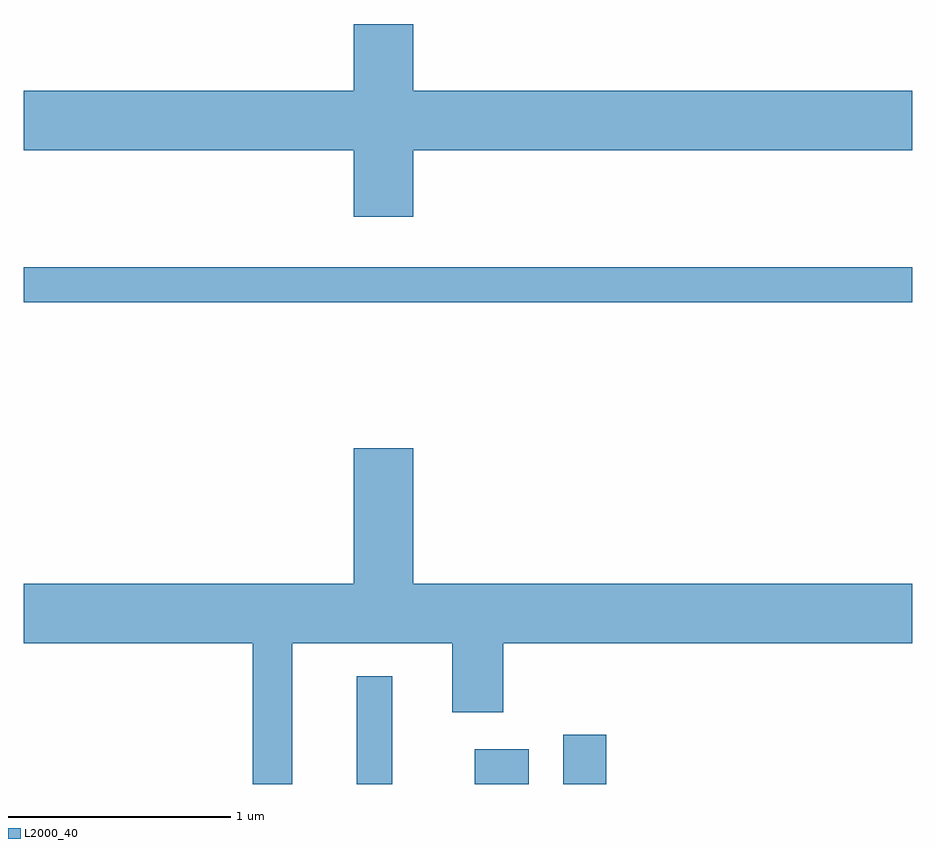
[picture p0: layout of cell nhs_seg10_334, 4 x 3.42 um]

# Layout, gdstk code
import gdstk
lib = gdstk.Library(unit=1e-6, precision=1e-09)
def R(c, l, rs):  # rectangles x0, y0, x1, y1
    for r in rs: c.add(gdstk.rectangle(r[:2], r[2:], *l))
def P(c, l, *ps):  # polygons
    for p in ps: c.add(gdstk.Polygon(p, *l))
L2000_40 = (2000, 40)

nhs_seg10_334 = lib.new_cell('nhs_seg10_334')
R(nhs_seg10_334, L2000_40, [(195.111,2206.522,195.269,2207.008), (195.641,2206.522,195.884,2206.679), (196.041,2206.522,196.234,2206.744), (193.611,2208.691,197.611,2208.849)])
P(nhs_seg10_334, L2000_40, [(195.364,2209.376),(197.611,2209.376),(197.611,2209.644),(195.364,2209.644),(195.364,2209.944),(195.096,2209.944),(195.096,2209.644),(193.611,2209.644),(193.611,2209.376),(195.096,2209.376),(195.096,2209.076),(195.364,2209.076)],
  [(194.819,2207.156),(195.541,2207.156),(195.541,2206.846),(195.769,2206.846),(195.769,2207.156),(197.611,2207.156),(197.611,2207.424),(195.364,2207.424),(195.364,2208.034),(195.096,2208.034),(195.096,2207.424),(193.611,2207.424),(193.611,2207.156),(194.641,2207.156),(194.641,2206.522),(194.819,2206.522)])

lib.write_gds('nhs_seg10_334.gds')
